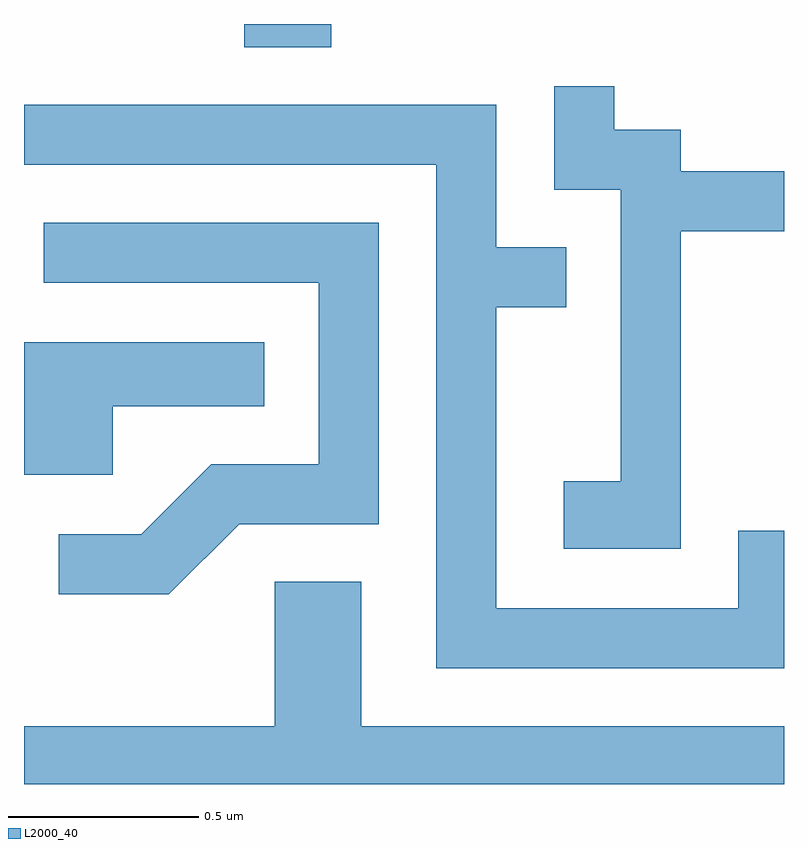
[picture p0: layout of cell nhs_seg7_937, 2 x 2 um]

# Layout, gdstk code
import gdstk
lib = gdstk.Library(unit=1e-6, precision=1e-09)
def R(c, l, rs):  # rectangles x0, y0, x1, y1
    for r in rs: c.add(gdstk.rectangle(r[:2], r[2:], *l))
def P(c, l, *ps):  # polygons
    for p in ps: c.add(gdstk.Polygon(p, *l))
L2000_40 = (2000, 40)

nhs_seg7_937 = lib.new_cell('nhs_seg7_937')
R(nhs_seg7_937, L2000_40, [(192.191,1785.191,192.419,1785.252)])
P(nhs_seg7_937, L2000_40, [(193.339,1784.706),(193.611,1784.706),(193.611,1784.864),(193.339,1784.864),(193.339,1784.974),(193.164,1784.974),(193.164,1785.088),(193.006,1785.088),(193.006,1784.816),(193.181,1784.816),(193.181,1784.049),(193.031,1784.049),(193.031,1783.871),(193.339,1783.871)],
  [(193.611,1783.919),(193.491,1783.919),(193.491,1783.714),(192.854,1783.714),(192.854,1784.506),(193.038,1784.506),(193.038,1784.664),(192.854,1784.664),(192.854,1785.039),(191.611,1785.039),(191.611,1784.881),(192.696,1784.881),(192.696,1783.556),(193.611,1783.556)],
  [(192.177,1783.936),(192.544,1783.936),(192.544,1784.729),(191.663,1784.729),(191.663,1784.571),(192.386,1784.571),(192.386,1784.094),(192.104,1784.094),(191.919,1783.909),(191.703,1783.909),(191.703,1783.751),(191.992,1783.751)],
  [(191.844,1784.246),(192.243,1784.246),(192.243,1784.414),(191.611,1784.414),(191.611,1784.066),(191.844,1784.066)],
  [(193.611,1783.404),(192.499,1783.404),(192.499,1783.784),(192.271,1783.784),(192.271,1783.404),(191.611,1783.404),(191.611,1783.252),(193.611,1783.252)])

lib.write_gds('nhs_seg7_937.gds')
